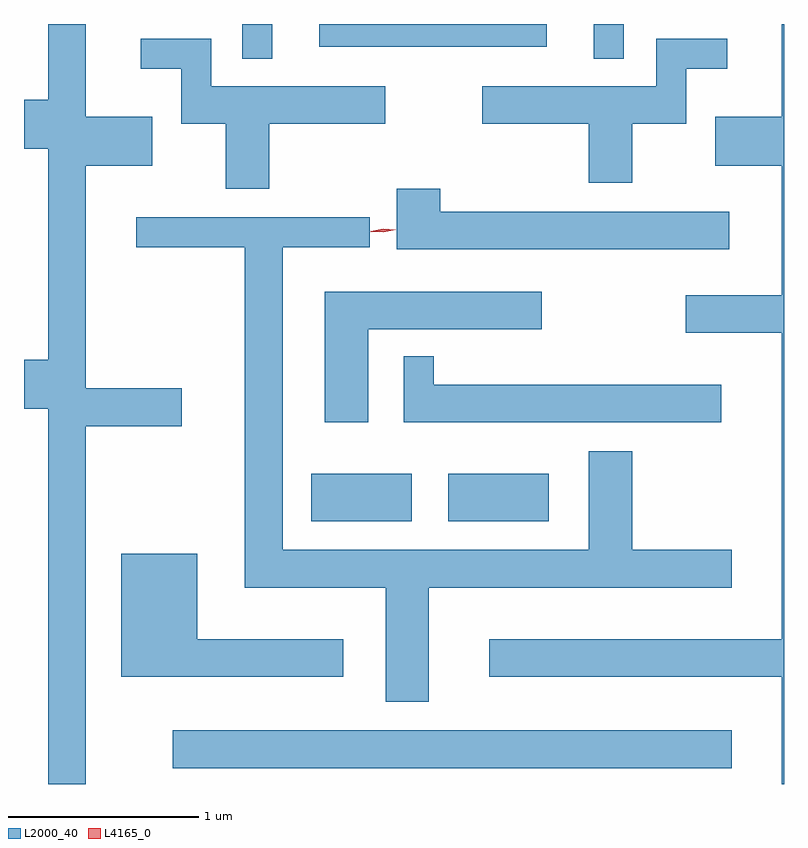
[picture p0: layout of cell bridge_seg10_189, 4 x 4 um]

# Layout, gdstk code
import gdstk
lib = gdstk.Library(unit=1e-6, precision=1e-09)
def R(c, l, rs):  # rectangles x0, y0, x1, y1
    for r in rs: c.add(gdstk.rectangle(r[:2], r[2:], *l))
def P(c, l, *ps):  # polygons
    for p in ps: c.add(gdstk.Polygon(p, *l))
L2000_40 = (2000, 40)
L4165_0 = (4165, 0)

bridge_seg10_189 = lib.new_cell('bridge_seg10_189')
R(bridge_seg10_189, L2000_40, [(1792.886,2125.091,1795.829,2125.289), (1793.616,2126.391,1794.144,2126.639), (1794.336,2126.391,1794.864,2126.639), (1793.251,2128.823,1793.409,2129.007), (1795.101,2128.823,1795.259,2129.007), (1793.656,2128.886,1794.854,2129.007)])
P(bridge_seg10_189, L2000_40, [(1796.103,2129.007),(1796.091,2129.007),(1796.091,2128.519),(1795.741,2128.519),(1795.741,2128.261),(1796.091,2128.261),(1796.091,2127.579),(1795.586,2127.579),(1795.586,2127.381),(1796.091,2127.381),(1796.091,2125.769),(1794.551,2125.769),(1794.551,2125.571),(1796.091,2125.571),(1796.091,2125.007),(1796.103,2125.007)],
  [(1792.429,2126.891),(1792.934,2126.891),(1792.934,2127.089),(1792.429,2127.089),(1792.429,2128.261),(1792.779,2128.261),(1792.779,2128.519),(1792.429,2128.519),(1792.429,2129.007),(1792.231,2129.007),(1792.231,2128.609),(1792.103,2128.609),(1792.103,2128.351),(1792.231,2128.351),(1792.231,2127.239),(1792.103,2127.239),(1792.103,2126.981),(1792.231,2126.981),(1792.231,2125.007),(1792.429,2125.007)],
  [(1795.304,2128.481),(1795.589,2128.481),(1795.589,2128.771),(1795.803,2128.771),(1795.803,2128.929),(1795.431,2128.929),(1795.431,2128.679),(1794.516,2128.679),(1794.516,2128.481),(1795.076,2128.481),(1795.076,2128.171),(1795.304,2128.171)],
  [(1793.394,2128.481),(1794.004,2128.481),(1794.004,2128.679),(1793.089,2128.679),(1793.089,2128.929),(1792.718,2128.929),(1792.718,2128.771),(1792.931,2128.771),(1792.931,2128.481),(1793.166,2128.481),(1793.166,2128.141),(1793.394,2128.141)],
  [(1795.814,2128.019),(1794.294,2128.019),(1794.294,2128.139),(1794.066,2128.139),(1794.066,2127.821),(1795.814,2127.821)],
  [(1794.234,2126.041),(1795.829,2126.041),(1795.829,2126.239),(1795.304,2126.239),(1795.304,2126.759),(1795.076,2126.759),(1795.076,2126.239),(1793.464,2126.239),(1793.464,2127.831),(1793.923,2127.831),(1793.923,2127.989),(1792.693,2127.989),(1792.693,2127.831),(1793.266,2127.831),(1793.266,2126.041),(1794.006,2126.041),(1794.006,2125.441),(1794.234,2125.441)],
  [(1793.914,2127.401),(1794.829,2127.401),(1794.829,2127.599),(1793.686,2127.599),(1793.686,2126.911),(1793.914,2126.911)],
  [(1795.774,2127.109),(1794.259,2127.109),(1794.259,2127.258),(1794.101,2127.258),(1794.101,2126.911),(1795.774,2126.911)],
  [(1793.784,2125.769),(1793.014,2125.769),(1793.014,2126.219),(1792.616,2126.219),(1792.616,2125.571),(1793.784,2125.571)])
P(bridge_seg10_189, L4165_0, [(1793.995,2127.91),(1793.928,2127.914),(1793.928,2127.914),(1793.928,2127.915),(1793.993,2127.929),(1794.059,2127.925),(1794.06,2127.924),(1794.059,2127.924)])

lib.write_gds('bridge_seg10_189.gds')
